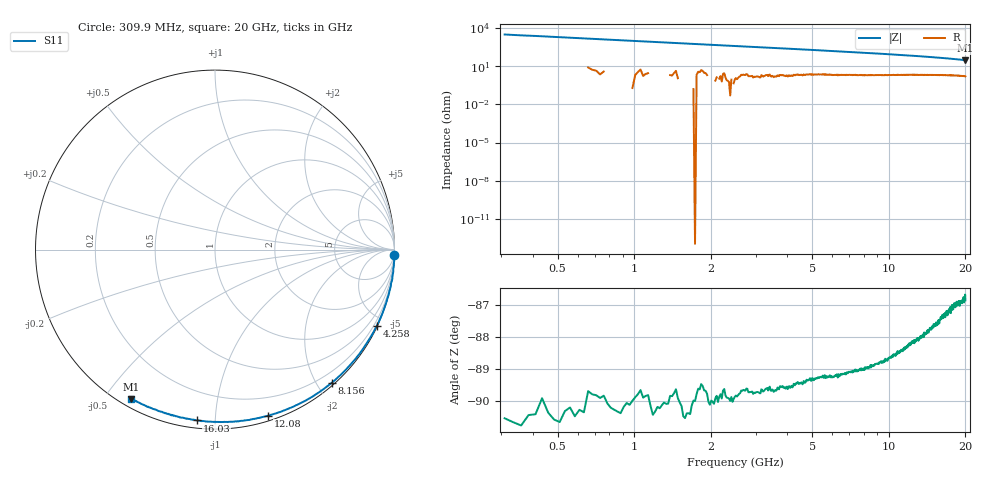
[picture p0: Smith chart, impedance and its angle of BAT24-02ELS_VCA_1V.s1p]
! Infineon Technologies  Discrete & RF Semiconductors
! BAT24-02ELS
! VCA = 1 V
! One-Port S-Parameters
# Hz  S  MA  R  50
!f  S11
!Hz  Mag  Ang
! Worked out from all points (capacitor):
!   789 points, 309.9 MHz to 20 GHz, reference 50 ohm
!   read as one part to ground: C = 165 fF near 384.8 MHz
!   lowest |Z| = 29.3 ohm at 20 GHz (marker M1)
!   S11 on the Smith chart (normalised r, x): 309.9 MHz: -1, -62; 4.258 GHz: 0.04, -4.47; 8.156 GHz: 0.04, -2.21; 12.08 GHz: 0.04, -1.37; 16.03 GHz: 0.04, -0.90; 20 GHz: 0.03, -0.59
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3.0985e8  1 -1.8
3.848125e8  1 -2.3
1.584212e9  1.002 -9.4
2.383812e9  1 -14.2
2.783612e9  0.9981 -16.4
3.533238e9  0.9982 -20.9
4.257875e9  0.9961 -25.2
5.232388e9  0.9937 -31.0
6.4068e9  0.9917 -38.1
7.256375e9  0.9888 -43.1
7.70615e9  0.9876 -45.9
8.155925e9  0.9868 -48.7
9.30535e9  0.9826 -55.6
1.015492e10  0.9794 -60.7
1.130435e10  0.9746 -67.6
1.207896e10  0.971 -72.3
1.262869e10  0.9685 -75.6
1.315342e10  0.9677 -78.7
1.377811e10  0.9638 -82.6
1.437781e10  0.9622 -86.1
1.507746e10  0.9601 -90.3
1.602699e10  0.9568 -95.9
1.702649e10  0.9552 -101.8
1.755122e10  0.9527 -104.8
1.825088e10  0.9526 -109.0
1.905048e10  0.9526 -113.6
1.965018e10  0.9524 -117.1
2e10  0.9534 -119.2
